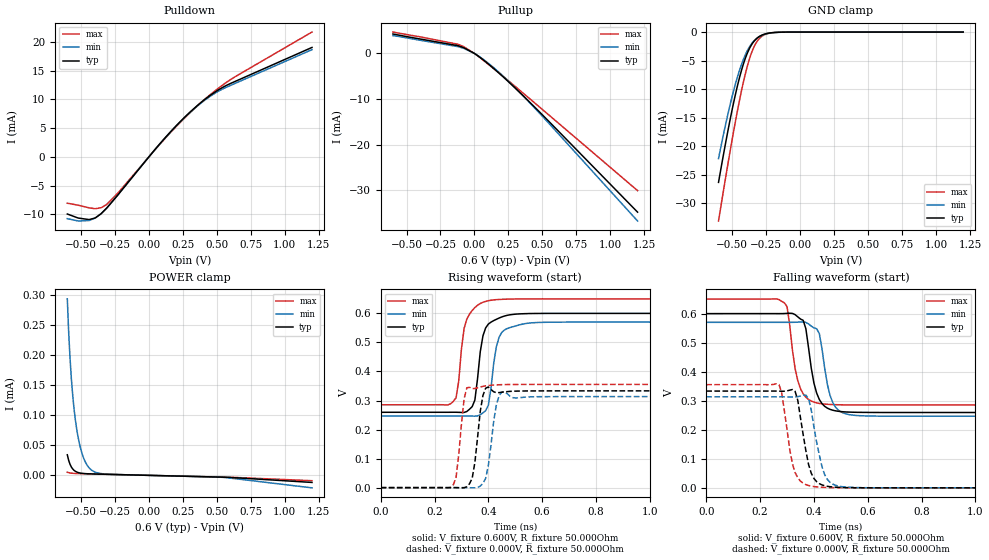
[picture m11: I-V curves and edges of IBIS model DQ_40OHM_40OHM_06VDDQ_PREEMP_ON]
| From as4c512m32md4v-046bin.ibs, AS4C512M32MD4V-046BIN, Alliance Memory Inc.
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|   MODEL: DQ_40OHM_40OHM_06VDDQ_PREEMP_ON
[Model]   DQ_40OHM_40OHM_06VDDQ_PREEMP_ON
Model_type   I/O
Polarity   Non-Inverting
Enable   Active-High
Vinl   = 0.080V
Vinh   = 0.220V
Vmeas   = 0.150V
Vref   = 0.150V
Cref   = 0.000pF
Rref   = 50.000Ohm
|   typ   min   max
C_comp   0.875pF   0.788pF   0.963pF
[Voltage Range]   0.600V   0.570V   0.650V
[Temperature Range]   25.0   95.0   -40.0
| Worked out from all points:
|   slope of the pulldown table from 0 to 0.09 V, typ, clamps not added: 35.6 ohm
|   slope of the pullup table from 0 to 0.09 V, typ, clamps not added: 44.8 ohm
|   GND clamp passes 1 mA (typ) near -0.31 V on its own axis
|   rising waveform, V_fixture 0.600V, R_fixture 50.000Ohm: 20-80 % time 29.9ps typ, 31.4ps min, 30.6ps max; typ from 0.259 V to 0.6 V
|   falling waveform, V_fixture 0.600V, R_fixture 50.000Ohm: 20-80 % time 37.3ps typ, 37.7ps min, 36.4ps max; typ from 0.6 V to 0.259 V
|   rising waveform, V_fixture 0.000V, R_fixture 50.000Ohm: 20-80 % time 24.4ps typ, 26.8ps min, 22.9ps max; typ from 0 V to 0.333 V
|   falling waveform, V_fixture 0.000V, R_fixture 50.000Ohm: 20-80 % time 38.8ps typ, 40.5ps min, 36.9ps max; typ from 0.333 V to 0 V
[Pulldown]
|   Voltage   I(typ)   I(min)   I(max)
-600mV    -9.933mA   -10.74mA   -8.055mA
-520mV    -10.64mA   -11.15mA   -8.402mA
-440mV    -10.91mA   -11.06mA   -8.857mA
-390mV    -10.55mA   -10.55mA   -9.005mA
-350mV    -9.864mA   -9.834mA   -8.829mA
-310mV    -8.911mA   -8.89mA    -8.266mA
-230mV    -6.673mA   -6.674mA   -6.345mA
130mV     3.598mA    3.579mA    3.493mA
270mV     7.055mA    7.002mA    6.938mA
400mV     9.785mA    9.667mA    9.8mA
580mV     12.55mA    12.23mA    13.12mA
1.2V      19.05mA    18.66mA    21.73mA
[Pullup]
|   Voltage   I(typ)   I(min)   I(max)
-600mV    4.267mA    3.904mA    4.699mA
-120mV    1.7mA      1.495mA    2.011mA
-80mV     1.289mA    1.134mA    1.496mA
0V        0A         0A         0A
80mV      -1.767mA   -1.632mA   -1.852mA
220mV     -5.374mA   -5.228mA   -5.255mA
410mV     -10.79mA   -10.91mA   -10.01mA
1.2V      -34.79mA   -36.73mA   -30.07mA
[GND Clamp]
|   Voltage   I(typ)   I(min)   I(max)
-600mV    -26.36mA   -22.19mA   -33.14mA
-550mV    -19.73mA   -16.43mA   -25.84mA
-510mV    -14.79mA   -12.27mA   -20.24mA
-470mV    -10.36mA   -8.615mA   -14.96mA
-430mV    -6.627mA   -5.609mA   -10.17mA
-390mV    -3.805mA   -3.349mA   -6.151mA
-360mV    -2.341mA   -2.151mA   -3.819mA
-320mV    -1.14mA    -1.122mA   -1.755mA
-280mV    -524.1uA   -555.5uA   -715.7uA
-230mV    -184.4uA   -215.6uA   -213.3uA
-140mV    -20.29uA   -29.99uA   -17.96uA
1.2V      6.836uA    7.386uA    6.714uA
[POWER Clamp]
|   Voltage   I(typ)   I(min)   I(max)
-600mV    34.27uA    294.1uA    5.169uA
-590mV    25uA       238.9uA    4.47uA
-570mV    13.84uA    160.6uA    3.674uA
-560mV    10.58uA    132.6uA    3.444uA
-540mV    6.655uA    91.24uA    3.146uA
-520mV    4.678uA    62.84uA    2.957uA
-490mV    3.339uA    35.2uA     2.748uA
-460mV    2.772uA    19.1uA     2.569uA
-420mV    2.39uA     8.47uA     2.342uA
-300mV    1.671uA    1.938uA    1.671uA
560mV     -3.13uA    -3.595uA   -3.086uA
1.2V      -11.8uA    -20.82uA   -8.926uA
[Ramp]
R_load = 50.000Ohm
|   typ   min   max
dV/dt_r   0.204V/30.000ps   0.194V/30.000ps   0.219V/30.000ps
dV/dt_f   0.204V/30.000ps   0.194V/40.000ps   0.219V/40.000ps
|Slew_r   6.811V/ns   6.467V/ns   7.294V/ns
|Slew_f   6.809V/ns   4.848V/ns   5.468V/ns
[Rising Waveform]
V_fixture = 0.600V
V_fixture_min = 0.570V
V_fixture_max = 0.650V
R_fixture = 50.000Ohm
L_fixture = 0.000nH
C_fixture = 0.000pF
|dV/dt_r   0.204V/30.000ps   0.194V/30.000ps   0.219V/30.000ps
|Slew_r   6.811V/ns   6.467V/ns   7.294V/ns
|   Time   V(typ)   V(min)   V(max)
0s        259.4mV    246.7mV    285.3mV
270ps     259.6mV    246.7mV    297mV
280ps     259.6mV    246.7mV    309.3mV
320ps     262.1mV    246.8mV    580.3mV
350ps     301.7mV    246.2mV    620.1mV
380ps     522.7mV    257.6mV    638.3mV
400ps     563.2mV    283.6mV    643.6mV
430ps     579.7mV    486.3mV    647.4mV
600ps     599.9mV    569.2mV    650mV
5ns       600mV      570mV      650mV
[Falling Waveform]
V_fixture = 0.600V
V_fixture_min = 0.570V
V_fixture_max = 0.650V
R_fixture = 50.000Ohm
L_fixture = 0.000nH
C_fixture = 0.000pF
|dV/dt_f   0.204V/30.000ps   0.194V/40.000ps   0.219V/40.000ps
|Slew_f   6.809V/ns   4.848V/ns   5.468V/ns
|   Time   V(typ)   V(min)   V(max)
0s        599.9mV    569.9mV    649.9mV
290ps     600.2mV    570mV      637.2mV
300ps     600.8mV    570mV      624mV
330ps     596.6mV    570.2mV    410.8mV
360ps     576.9mV    571.3mV    323.6mV
420ps     304.2mV    531.1mV    290.7mV
450ps     274.4mV    355.7mV    287.7mV
490ps     263.8mV    268.1mV    286.1mV
590ps     259.8mV    247.7mV    285.4mV
5ns       259.5mV    246.7mV    285.4mV
[Rising Waveform]
V_fixture = 0.000V
V_fixture_min = 0.000V
V_fixture_max = 0.000V
R_fixture = 50.000Ohm
L_fixture = 0.000nH
C_fixture = 0.000pF
|dV/dt_r   0.200V/30.000ps   0.188V/30.000ps   0.213V/20.000ps
|Slew_r   6.665V/ns   6.268V/ns   10.663V/ns
|   Time   V(typ)   V(min)   V(max)
0s        3.915uV    11.59uV    1.679uV
270ps     122.8uV    12.81uV    10.02mV
280ps     11.69uV    17.49uV    34.79mV
320ps     3.116mV    -10.58uV   343.7mV
340ps     32.39mV    -624.9uV   340.8mV
380ps     317.6mV    14.9mV     348.9mV
410ps     338mV      147.9mV    352.7mV
430ps     326.9mV    286.1mV    353.9mV
460ps     329.6mV    330.3mV    354.8mV
5ns       333.3mV    313.4mV    355.4mV
[Falling Waveform]
V_fixture = 0.000V
V_fixture_min = 0.000V
V_fixture_max = 0.000V
R_fixture = 50.000Ohm
L_fixture = 0.000nH
C_fixture = 0.000pF
|dV/dt_f   0.200V/40.000ps   0.188V/40.000ps   0.213V/40.000ps
|Slew_f   4.998V/ns   4.700V/ns   5.331V/ns
|   Time   V(typ)   V(min)   V(max)
0s        333.2mV    313.4mV    355.4mV
270ps     333mV      313.5mV    355.6mV
280ps     332.7mV    313.5mV    328.6mV
310ps     336.4mV    312.9mV    132.3mV
330ps     332.3mV    312.9mV    52.63mV
380ps     80.31mV    306.7mV    8.007mV
420ps     14.47mV    112.8mV    2.567mV
460ps     3.865mV    18.71mV    905.5uV
560ps     336.3uV    963.6uV    57.66uV
5ns       4.318uV    11.74uV    2.136uV
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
